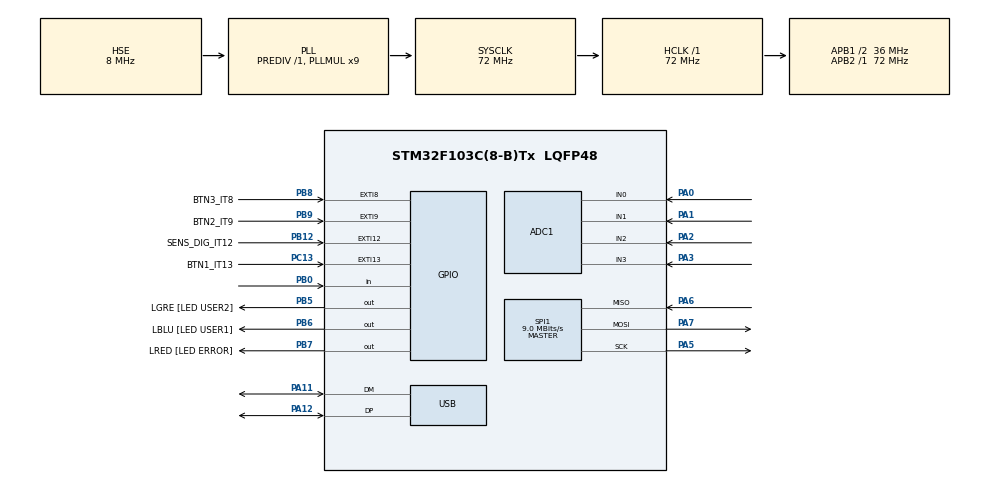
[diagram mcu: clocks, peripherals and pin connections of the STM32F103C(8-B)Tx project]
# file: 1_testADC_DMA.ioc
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ADC1.Channel-1\#ChannelRegularConversion=ADC_CHANNEL_0
ADC1.Channel-2\#ChannelRegularConversion=ADC_CHANNEL_1
ADC1.Channel-3\#ChannelRegularConversion=ADC_CHANNEL_2
ADC1.Channel-4\#ChannelRegularConversion=ADC_CHANNEL_3
ADC1.ContinuousConvMode=DISABLE
ADC1.ExternalTrigConv=ADC_EXTERNALTRIGCONV_T3_TRGO
ADC1.NbrOfConversion=4
ADC1.NbrOfConversionFlag=1
ADC1.Rank-1\#ChannelRegularConversion=1
ADC1.Rank-2\#ChannelRegularConversion=2
ADC1.Rank-3\#ChannelRegularConversion=3
ADC1.Rank-4\#ChannelRegularConversion=4
ADC1.SamplingTime-1\#ChannelRegularConversion=ADC_SAMPLETIME_1CYCLE_5
ADC1.SamplingTime-2\#ChannelRegularConversion=ADC_SAMPLETIME_1CYCLE_5
ADC1.SamplingTime-3\#ChannelRegularConversion=ADC_SAMPLETIME_1CYCLE_5
ADC1.SamplingTime-4\#ChannelRegularConversion=ADC_SAMPLETIME_1CYCLE_5
ADC1.master=1
Dma.ADC1.0.Direction=DMA_PERIPH_TO_MEMORY
Dma.ADC1.0.Instance=DMA1_Channel1
Dma.ADC1.0.MemDataAlignment=DMA_MDATAALIGN_HALFWORD
Dma.ADC1.0.MemInc=DMA_MINC_ENABLE
Dma.ADC1.0.Mode=DMA_CIRCULAR
Dma.ADC1.0.PeriphDataAlignment=DMA_PDATAALIGN_HALFWORD
Dma.ADC1.0.PeriphInc=DMA_PINC_DISABLE
Dma.ADC1.0.Priority=DMA_PRIORITY_LOW
Dma.Request0=ADC1
Mcu.Family=STM32F1
Mcu.Name=STM32F103C(8-B)Tx
Mcu.Package=LQFP48
NVIC.ADC1_2_IRQn=true\:0\:0\:false\:false\:true\:true\:true\:true
NVIC.DMA1_Channel1_IRQn=true\:0\:0\:false\:false\:true\:false\:true\:true
NVIC.PriorityGroup=NVIC_PRIORITYGROUP_4
NVIC.TIM2_IRQn=true\:0\:0\:false\:false\:true\:true\:true\:true
NVIC.TIM3_IRQn=true\:0\:0\:false\:false\:true\:true\:true\:true
NVIC.USB_LP_CAN1_RX0_IRQn=true\:0\:0\:false\:false\:true\:false\:true\:true
PA0-WKUP.Signal=ADCx_IN0
PA1.Signal=ADCx_IN1
PA11.Mode=Device
PA11.Signal=USB_DM
PA12.Mode=Device
PA12.Signal=USB_DP
PA13.Mode=Serial_Wire
PA13.Signal=SYS_JTMS-SWDIO
PA14.Mode=Serial_Wire
PA14.Signal=SYS_JTCK-SWCLK
PA2.Signal=ADCx_IN2
PA3.Signal=ADCx_IN3
PA5.Mode=Full_Duplex_Master
PA5.Signal=SPI1_SCK
PA6.Mode=Full_Duplex_Master
PA6.Signal=SPI1_MISO
PA7.Mode=Full_Duplex_Master
PA7.Signal=SPI1_MOSI
PB0.Signal=GPIO_Input
PB12.GPIO_Label=SENS_DIG_IT12
PB12.Signal=GPXTI12
PB5.GPIO_Label=LGRE [LED USER2]
PB5.GPIO_PuPd=GPIO_PULLUP
PB5.Signal=GPIO_Output
PB6.GPIO_Label=LBLU [LED USER1]
PB6.GPIO_PuPd=GPIO_PULLUP
PB6.Signal=GPIO_Output
PB7.GPIO_Label=LRED [LED ERROR]
PB7.GPIO_PuPd=GPIO_PULLUP
PB7.Signal=GPIO_Output
PB8.GPIO_Label=BTN3_IT8
PB8.GPIO_ModeDefaultEXTI=GPIO_MODE_IT_FALLING
PB8.GPIO_PuPd=GPIO_NOPULL
PB8.Signal=GPXTI8
PB9.GPIO_Label=BTN2_IT9
PB9.GPIO_ModeDefaultEXTI=GPIO_MODE_IT_FALLING
PB9.GPIO_PuPd=GPIO_NOPULL
PB9.Signal=GPXTI9
PC13-TAMPER-RTC.GPIO_Label=BTN1_IT13
PC13-TAMPER-RTC.GPIO_ModeDefaultEXTI=GPIO_MODE_IT_FALLING
PC13-TAMPER-RTC.Signal=GPXTI13
PC14-OSC32_IN.Mode=LSE-External-Clock-Source
PC14-OSC32_IN.Signal=RCC_OSC32_IN
PC15-OSC32_OUT.Mode=LSE-External-Clock-Source
PC15-OSC32_OUT.Signal=RCC_OSC32_OUT
PD0-OSC_IN.Mode=HSE-External-Oscillator
PD0-OSC_IN.Signal=RCC_OSC_IN
PD1-OSC_OUT.Mode=HSE-External-Oscillator
PD1-OSC_OUT.Signal=RCC_OSC_OUT
ProjectManager.HeapSize=0x200
ProjectManager.StackSize=0x400
ProjectManager.TargetToolchain=STM32CubeIDE
RCC.ADCPresc=RCC_ADCPCLK2_DIV6
RCC.AHBFreq_Value=72000000
RCC.APB1CLKDivider=RCC_HCLK_DIV2
RCC.APB1Freq_Value=36000000
RCC.APB1TimFreq_Value=72000000
RCC.APB2Freq_Value=72000000
RCC.APB2TimFreq_Value=72000000
RCC.HCLKFreq_Value=72000000
RCC.PLLMUL=RCC_PLL_MUL9
RCC.PLLSourceVirtual=RCC_PLLSOURCE_HSE
RCC.SYSCLKFreq_VALUE=72000000
RCC.SYSCLKSource=RCC_SYSCLKSOURCE_PLLCLK
RCC.USBFreq_Value=48000000
RCC.USBPrescaler=RCC_USBCLKSOURCE_PLL_DIV1_5
SH.ADCx_IN0.0=ADC1_IN0,IN0
SH.ADCx_IN1.0=ADC1_IN1,IN1
SH.ADCx_IN2.0=ADC1_IN2,IN2
SH.ADCx_IN3.0=ADC1_IN3,IN3
SPI1.BaudRatePrescaler=SPI_BAUDRATEPRESCALER_8
SPI1.CalculateBaudRate=9.0 MBits/s
SPI1.Direction=SPI_DIRECTION_2LINES
SPI1.Mode=SPI_MODE_MASTER
SPI1.VirtualType=VM_MASTER
TIM2.Period=100-1
TIM2.Prescaler=72-1
TIM3.Channel-PWM\ Generation1\ No\ Output=TIM_CHANNEL_1
TIM3.Period=100-1
TIM3.Prescaler=72-1
TIM3.TIM_MasterOutputTrigger=TIM_TRGO_UPDATE
USB_DEVICE.APP_RX_DATA_SIZE=64
USB_DEVICE.APP_TX_DATA_SIZE=64
USB_DEVICE.CLASS_NAME_FS=CDC
USB_DEVICE.PID_CDC_FS=0xC1B0
USB_DEVICE.PRODUCT_STRING_CDC_FS=STM32 usblib
USB_DEVICE.VirtualMode=Cdc
USB_DEVICE.VirtualModeFS=Cdc_FS
VP_TIM2_VS_ClockSourceINT.Mode=Internal
VP_TIM3_VS_ClockSourceINT.Mode=Internal
VP_TIM3_VS_no_output1.Mode=PWM Generation1 No Output
VP_USB_DEVICE_VS_USB_DEVICE_CDC_FS.Mode=CDC_FS
board=custom

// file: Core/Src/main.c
/* USER CODE BEGIN Header */
/**
  ******************************************************************************
  * @file           : main.c
  * @brief          : Main program body
  ******************************************************************************
  * @attention
  *
  * Copyright (c) 2024 STMicroelectronics.
  * All rights reserved.
  *
  * This software is licensed under terms that can be found in the LICENSE file
  * in the root directory of this software component.
  * If no LICENSE file comes with this software, it is provided AS-IS.
  *
  ******************************************************************************
  */
/* USER CODE END Header */
#include "main.h"
#include "usb_device.h"

/* USER CODE BEGIN Includes */
#include "0_strPrc.h"
#include "stdio.h"
#include "string.h"
#include "usbd_cdc.h"
#include "usbd_cdc_if.h"
/* USER CODE END Includes */

/* USER CODE BEGIN PTD */
extern USBD_HandleTypeDef hUsbDeviceFS;
/* USER CODE END PTD */

/* USER CODE BEGIN PD */
//#define AVG_SLOPE	4.3	// mV per C
//#define V25			1.43	// V

#define MAX_INDEX_BUFFER 	23

#define HAS_DOT 			(1)

#define CODE_HANDLER 		(1)
#define CODE_HANDLER_USB 	(0)

#define CODE_HANDLER_1 		(0)
#define TEST_9_2 			(1)

#define LENGTH 	(7)
/* USER CODE END PD */

ADC_HandleTypeDef hadc1;
DMA_HandleTypeDef hdma_adc1;

SPI_HandleTypeDef hspi1;

TIM_HandleTypeDef htim2;
TIM_HandleTypeDef htim3;

/* USER CODE BEGIN PV */

/*Val ADC*/
uint32_t counter = 0;
uint32_t counter2 = 0;
uint32_t counter_done = 0;
uint32_t counter_erro = 0;

uint16_t nadc[4] = {0};

uint16_t tesst[4] = {4352, 9856, 2356, 8794};

uint8_t flat_ADC = 0;
uint8_t ADC_hand = 1;

struct flag_tmr2_t
{
	uint32_t 	flag_1us;
	uint32_t 	flat_1s;
};

struct flag_tmr2_t flagTmr2 = {0,0};

char strFrNum[LENGTH] = {0};				// xxxx:yyyy:zzzz:dddd\r\n

char str4bADC[4] = {0};
char str2bADC[2] = {0};

uint8_t buffADC_35Hz[2500] = {0};

/*Val UART*/
uint8_t buffer_ADC[MAX_INDEX_BUFFER] = {0};

char* mystrcat( char* dest, char* src );
char* num2str(int i, char b[]);

// Handles the IRQ of ADC1. EOC flag is cleared by reading data register
//static uint32_t temp = 0;
//static uint32_t temp_sensor = 0;
/* USER CODE END PV */

void SystemClock_Config(void);
static void MX_GPIO_Init(void);
static void MX_DMA_Init(void);
static void MX_ADC1_Init(void);
static void MX_TIM3_Init(void);
static void MX_SPI1_Init(void);
static void MX_TIM2_Init(void);

/* USER CODE BEGIN 0 */
void HAL_ADC_ConvCpltCallback(ADC_HandleTypeDef* hadc)
{
#if (CODE_HANDLER_USB)
	memset(strFrNum, '\0', LENGTH);

	strPrc_strcpy_pos(strFrNum, strPrc_conv32B216B(strPrc_num2str(nadc[0], strADC)), 0);
	strPrc_strcpy_pos(strFrNum, strPrc_conv32B216B(strPrc_num2str(nadc[1], strADC)), 2);
	strPrc_strcpy_pos(strFrNum, strPrc_conv32B216B(strPrc_num2str(nadc[2], strADC)), 4);
	strPrc_strcpy_pos(strFrNum, strPrc_conv32B216B(strPrc_num2str(nadc[3], strADC)), 6);

	flat_ADC ++;
#endif
	memset(strFrNum, '\0', LENGTH);

	strPrc_strcpy_pos(strFrNum, nadc[0], 0, str2bADC);
	strPrc_strcpy_pos(strFrNum, nadc[1], 2, str2bADC);
	strPrc_strcpy_pos(strFrNum, nadc[2], 4, str2bADC);
	strPrc_strcpy_pos(strFrNum, nadc[3], 6, str2bADC);

	buffADC_35Hz[index] = ;
}

void HAL_TIM_PeriodElapsedCallback(TIM_HandleTypeDef *htim)	// 100us = 0.1ms
{
	if(htim == &htim2)
	{
		flagTmr2.flat_1s ++;
		flagTmr2.flag_1us ++;
	}
}

/* USER CODE END 0 */

int main(void)
{

  /* MCU Configuration--------------------------------------------------------*/

  /* Reset of all peripherals, Initializes the Flash interface and the Systick. */
  HAL_Init();

  /* Configure the system clock */
  SystemClock_Config();

  /* Initialize all configured peripherals */
  MX_GPIO_Init();
  MX_DMA_Init();
  MX_ADC1_Init();
  MX_TIM3_Init();
  MX_USB_DEVICE_Init();
  MX_SPI1_Init();
  MX_TIM2_Init();
  /* USER CODE BEGIN 2 */
  // Calculator ADC
  HAL_GPIO_WritePin(GPIOB, LRED_Pin | LGRE_Pin | LBLU_Pin, LED_LOW);

  if(HAL_ADCEx_Calibration_Start(&hadc1) != HAL_OK)
	  Error_Handler();
  // start pwm generation
  if(HAL_TIM_PWM_Start(&htim3, TIM_CHANNEL_1) != HAL_OK)
	  Error_Handler();

  if(HAL_TIM_Base_Start_IT(&htim2) != HAL_OK)
	  Error_Handler();

  if(HAL_ADC_Start_DMA(&hadc1, (uint32_t*)nadc, sizeof(nadc) / sizeof(uint16_t)) != HAL_OK)
	  Error_Handler();

	 while(HAL_GPIO_ReadPin(BTN3_IT8_GPIO_Port, BTN3_IT8_Pin) == GPIO_PIN_SET){}
  /* USER CODE END 2 */

  /* Infinite loop */
  /* USER CODE BEGIN WHILE */
  while (1)
  {
#if (CODE_HANDLER)
//	if(flagTmr2.flat_1s >= 10000) // 1s
//	{
//		while(HAL_GPIO_ReadPin(BTN3_IT8_GPIO_Port, BTN3_IT8_Pin) == GPIO_PIN_SET){}
//
//		flagTmr2.flat_1s = 0;
//
//		counter_done = 0;
//		counter = 0;
//	}

	/*
	 * 1 Tick = 100us
	 * 1000 : 100ms
	 * 100  : 10ms
	 * 1-   : 1ms
	 *
	 * 28ms : 35HZ :
	 * */
	if(flagTmr2.flag_1us >= 280)
	{
		flagTmr2.flag_1us = 0;
#endif

#if (CODE_HANDLER_USB)

//		if(((USBD_CDC_HandleTypeDef *)hUsbDeviceFS.pClassData) -> TxState == 0)	// Khi máy chủ nhận thành công
//		{
//			counter2++;

			if(CDC_Transmit_FS((uint8_t*)strFrNum, LENGTH) == USBD_OK)
			{
				flat_ADC = 0;
				counter_done++;
				HAL_GPIO_TogglePin(LGRE_GPIO_Port, LGRE_Pin);
			}
//		}
//		else
//		{
//			counter_erro++;
//		}

		// while(((USBD_CDC_HandleTypeDef *)hUsbDeviceFS.pClassData) -> TxState != 0) {}

		counter ++;

#endif

//		strPrc_strcpy_pos(strFrNum, strPrc_conv32B216B(strPrc_num2str(tesst[0], str4bADC) , str2bADC), 0);
//		strPrc_strcpy_pos(strFrNum, strPrc_conv32B216B(strPrc_num2str(tesst[1], str4bADC) , str2bADC), 2);
//		strPrc_strcpy_pos(strFrNum, strPrc_conv32B216B(strPrc_num2str(tesst[2], str4bADC) , str2bADC), 4);
//		strPrc_strcpy_pos(strFrNum, strPrc_conv32B216B(strPrc_num2str(tesst[3], str4bADC) , str2bADC), 6);

		memset(strFrNum, '\0', LENGTH);

		strPrc_strcpy_pos(strFrNum, nadc[0], 0, str2bADC);
		strPrc_strcpy_pos(strFrNum, nadc[1], 2, str2bADC);
		strPrc_strcpy_pos(strFrNum, nadc[2], 4, str2bADC);
		strPrc_strcpy_pos(strFrNum, nadc[3], 6, str2bADC);

		HAL_GPIO_TogglePin(LRED_GPIO_Port, LRED_Pin);

		if(CDC_Transmit_FS((uint8_t*)strFrNum, LENGTH) == USBD_OK)
		{
			flat_ADC = 0;
			counter_done++;
			HAL_GPIO_TogglePin(LGRE_GPIO_Port, LGRE_Pin);
		}

#if (CODE_HANDLER)
	}
#endif

//	HAL_Delay(1000);
    /* USER CODE END WHILE */

  }
}

void SystemClock_Config(void)
{
  RCC_OscInitTypeDef RCC_OscInitStruct = {0};
  RCC_ClkInitTypeDef RCC_ClkInitStruct = {0};
  RCC_PeriphCLKInitTypeDef PeriphClkInit = {0};

  /** Initializes the RCC Oscillators according to the specified parameters
  * in the RCC_OscInitTypeDef structure.
  */
  RCC_OscInitStruct.OscillatorType = RCC_OSCILLATORTYPE_HSE;
  RCC_OscInitStruct.HSEState = RCC_HSE_ON;
  RCC_OscInitStruct.HSEPredivValue = RCC_HSE_PREDIV_DIV1;
  RCC_OscInitStruct.HSIState = RCC_HSI_ON;
  RCC_OscInitStruct.PLL.PLLState = RCC_PLL_ON;
  RCC_OscInitStruct.PLL.PLLSource = RCC_PLLSOURCE_HSE;
  RCC_OscInitStruct.PLL.PLLMUL = RCC_PLL_MUL9;
  if (HAL_RCC_OscConfig(&RCC_OscInitStruct) != HAL_OK)
  {
    Error_Handler();
  }

  /** Initializes the CPU, AHB and APB buses clocks
  */
  RCC_ClkInitStruct.ClockType = RCC_CLOCKTYPE_HCLK|RCC_CLOCKTYPE_SYSCLK
                              |RCC_CLOCKTYPE_PCLK1|RCC_CLOCKTYPE_PCLK2;
  RCC_ClkInitStruct.SYSCLKSource = RCC_SYSCLKSOURCE_PLLCLK;
  RCC_ClkInitStruct.AHBCLKDivider = RCC_SYSCLK_DIV1;
  RCC_ClkInitStruct.APB1CLKDivider = RCC_HCLK_DIV2;
  RCC_ClkInitStruct.APB2CLKDivider = RCC_HCLK_DIV1;

  if (HAL_RCC_ClockConfig(&RCC_ClkInitStruct, FLASH_LATENCY_2) != HAL_OK)
  {
    Error_Handler();
  }
  PeriphClkInit.PeriphClockSelection = RCC_PERIPHCLK_ADC|RCC_PERIPHCLK_USB;
  PeriphClkInit.AdcClockSelection = RCC_ADCPCLK2_DIV6;
  PeriphClkInit.UsbClockSelection = RCC_USBCLKSOURCE_PLL_DIV1_5;
  if (HAL_RCCEx_PeriphCLKConfig(&PeriphClkInit) != HAL_OK)
  {
    Error_Handler();
  }
}

static void MX_ADC1_Init(void)
{

  ADC_ChannelConfTypeDef sConfig = {0};

  /** Common config
  */
  hadc1.Instance = ADC1;
  hadc1.Init.ScanConvMode = ADC_SCAN_ENABLE;
  hadc1.Init.ContinuousConvMode = DISABLE;
  hadc1.Init.DiscontinuousConvMode = DISABLE;
  hadc1.Init.ExternalTrigConv = ADC_EXTERNALTRIGCONV_T3_TRGO;
  hadc1.Init.DataAlign = ADC_DATAALIGN_RIGHT;
  hadc1.Init.NbrOfConversion = 4;
  if (HAL_ADC_Init(&hadc1) != HAL_OK)
  {
    Error_Handler();
  }

  /** Configure Regular Channel
  */
  sConfig.Channel = ADC_CHANNEL_0;
  sConfig.Rank = ADC_REGULAR_RANK_1;
  sConfig.SamplingTime = ADC_SAMPLETIME_1CYCLE_5;
  if (HAL_ADC_ConfigChannel(&hadc1, &sConfig) != HAL_OK)
  {
    Error_Handler();
  }

  /** Configure Regular Channel
  */
  sConfig.Channel = ADC_CHANNEL_1;
  sConfig.Rank = ADC_REGULAR_RANK_2;
  if (HAL_ADC_ConfigChannel(&hadc1, &sConfig) != HAL_OK)
  {
    Error_Handler();
  }

  /** Configure Regular Channel
  */
  sConfig.Channel = ADC_CHANNEL_2;
  sConfig.Rank = ADC_REGULAR_RANK_3;
  if (HAL_ADC_ConfigChannel(&hadc1, &sConfig) != HAL_OK)
  {
    Error_Handler();
  }

  /** Configure Regular Channel
  */
  sConfig.Channel = ADC_CHANNEL_3;
  sConfig.Rank = ADC_REGULAR_RANK_4;
  if (HAL_ADC_ConfigChannel(&hadc1, &sConfig) != HAL_OK)
  {
    Error_Handler();
  }

}

static void MX_SPI1_Init(void)
{

  /* SPI1 parameter configuration*/
  hspi1.Instance = SPI1;
  hspi1.Init.Mode = SPI_MODE_MASTER;
  hspi1.Init.Direction = SPI_DIRECTION_2LINES;
  hspi1.Init.DataSize = SPI_DATASIZE_8BIT;
  hspi1.Init.CLKPolarity = SPI_POLARITY_LOW;
  hspi1.Init.CLKPhase = SPI_PHASE_1EDGE;
  hspi1.Init.NSS = SPI_NSS_SOFT;
  hspi1.Init.BaudRatePrescaler = SPI_BAUDRATEPRESCALER_8;
  hspi1.Init.FirstBit = SPI_FIRSTBIT_MSB;
  hspi1.Init.TIMode = SPI_TIMODE_DISABLE;
  hspi1.Init.CRCCalculation = SPI_CRCCALCULATION_DISABLE;
  hspi1.Init.CRCPolynomial = 10;
  if (HAL_SPI_Init(&hspi1) != HAL_OK)
  {
    Error_Handler();
  }

}

static void MX_TIM2_Init(void)
{

  TIM_ClockConfigTypeDef sClockSourceConfig = {0};
  TIM_MasterConfigTypeDef sMasterConfig = {0};

  htim2.Instance = TIM2;
  htim2.Init.Prescaler = 72-1;
  htim2.Init.CounterMode = TIM_COUNTERMODE_UP;
  htim2.Init.Period = 100-1;
  htim2.Init.ClockDivision = TIM_CLOCKDIVISION_DIV1;
  htim2.Init.AutoReloadPreload = TIM_AUTORELOAD_PRELOAD_DISABLE;
  if (HAL_TIM_Base_Init(&htim2) != HAL_OK)
  {
    Error_Handler();
  }
  sClockSourceConfig.ClockSource = TIM_CLOCKSOURCE_INTERNAL;
  if (HAL_TIM_ConfigClockSource(&htim2, &sClockSourceConfig) != HAL_OK)
  {
    Error_Handler();
  }
  sMasterConfig.MasterOutputTrigger = TIM_TRGO_RESET;
  sMasterConfig.MasterSlaveMode = TIM_MASTERSLAVEMODE_DISABLE;
  if (HAL_TIMEx_MasterConfigSynchronization(&htim2, &sMasterConfig) != HAL_OK)
  {
    Error_Handler();
  }

}

static void MX_TIM3_Init(void)
{

  TIM_ClockConfigTypeDef sClockSourceConfig = {0};
  TIM_MasterConfigTypeDef sMasterConfig = {0};
  TIM_OC_InitTypeDef sConfigOC = {0};

  htim3.Instance = TIM3;
  htim3.Init.Prescaler = 72-1;
  htim3.Init.CounterMode = TIM_COUNTERMODE_UP;
  htim3.Init.Period = 100-1;
  htim3.Init.ClockDivision = TIM_CLOCKDIVISION_DIV1;
  htim3.Init.AutoReloadPreload = TIM_AUTORELOAD_PRELOAD_DISABLE;
  if (HAL_TIM_Base_Init(&htim3) != HAL_OK)
  {
    Error_Handler();
  }
  sClockSourceConfig.ClockSource = TIM_CLOCKSOURCE_INTERNAL;
  if (HAL_TIM_ConfigClockSource(&htim3, &sClockSourceConfig) != HAL_OK)
  {
    Error_Handler();
  }
  if (HAL_TIM_PWM_Init(&htim3) != HAL_OK)
  {
    Error_Handler();
  }
  sMasterConfig.MasterOutputTrigger = TIM_TRGO_UPDATE;
  sMasterConfig.MasterSlaveMode = TIM_MASTERSLAVEMODE_DISABLE;
  if (HAL_TIMEx_MasterConfigSynchronization(&htim3, &sMasterConfig) != HAL_OK)
  {
    Error_Handler();
  }
  sConfigOC.OCMode = TIM_OCMODE_PWM1;
  sConfigOC.Pulse = 0;
  sConfigOC.OCPolarity = TIM_OCPOLARITY_HIGH;
  sConfigOC.OCFastMode = TIM_OCFAST_DISABLE;
  if (HAL_TIM_PWM_ConfigChannel(&htim3, &sConfigOC, TIM_CHANNEL_1) != HAL_OK)
  {
    Error_Handler();
  }

}

static void MX_DMA_Init(void)
{

  /* DMA controller clock enable */
  __HAL_RCC_DMA1_CLK_ENABLE();

  /* DMA interrupt init */
  /* DMA1_Channel1_IRQn interrupt configuration */
  HAL_NVIC_SetPriority(DMA1_Channel1_IRQn, 0, 0);
  HAL_NVIC_EnableIRQ(DMA1_Channel1_IRQn);

}

static void MX_GPIO_Init(void)
{
  GPIO_InitTypeDef GPIO_InitStruct = {0};

  /* GPIO Ports Clock Enable */
  __HAL_RCC_GPIOC_CLK_ENABLE();
  __HAL_RCC_GPIOD_CLK_ENABLE();
  __HAL_RCC_GPIOA_CLK_ENABLE();
  __HAL_RCC_GPIOB_CLK_ENABLE();

  /*Configure GPIO pin Output Level */
  HAL_GPIO_WritePin(GPIOB, LGRE_Pin|LBLU_Pin|LRED_Pin, GPIO_PIN_RESET);

  /*Configure GPIO pin : BTN1_IT13_Pin */
  GPIO_InitStruct.Pin = BTN1_IT13_Pin;
  GPIO_InitStruct.Mode = GPIO_MODE_IT_FALLING;
  GPIO_InitStruct.Pull = GPIO_NOPULL;
  HAL_GPIO_Init(BTN1_IT13_GPIO_Port, &GPIO_InitStruct);

  /*Configure GPIO pin : PB0 */
  GPIO_InitStruct.Pin = GPIO_PIN_0;
  GPIO_InitStruct.Mode = GPIO_MODE_INPUT;
  GPIO_InitStruct.Pull = GPIO_NOPULL;
  HAL_GPIO_Init(GPIOB, &GPIO_InitStruct);

  /*Configure GPIO pin : SENS_DIG_IT12_Pin */
  GPIO_InitStruct.Pin = SENS_DIG_IT12_Pin;
  GPIO_InitStruct.Mode = GPIO_MODE_IT_RISING;
  GPIO_InitStruct.Pull = GPIO_NOPULL;
  HAL_GPIO_Init(SENS_DIG_IT12_GPIO_Port, &GPIO_InitStruct);

  /*Configure GPIO pins : LGRE_Pin LBLU_Pin LRED_Pin */
  GPIO_InitStruct.Pin = LGRE_Pin|LBLU_Pin|LRED_Pin;
  GPIO_InitStruct.Mode = GPIO_MODE_OUTPUT_PP;
  GPIO_InitStruct.Pull = GPIO_PULLUP;
  GPIO_InitStruct.Speed = GPIO_SPEED_FREQ_LOW;
  HAL_GPIO_Init(GPIOB, &GPIO_InitStruct);

  /*Configure GPIO pins : BTN3_IT8_Pin BTN2_IT9_Pin */
  GPIO_InitStruct.Pin = BTN3_IT8_Pin|BTN2_IT9_Pin;
  GPIO_InitStruct.Mode = GPIO_MODE_IT_FALLING;
  GPIO_InitStruct.Pull = GPIO_NOPULL;
  HAL_GPIO_Init(GPIOB, &GPIO_InitStruct);

}

void Error_Handler(void)
{
  /* USER CODE BEGIN Error_Handler_Debug */
  /* User can add his own implementation to report the HAL error return state */
  __disable_irq();

//  HAL_GPIO_WritePin(L_B_GPIO_Port, L_B_Pin, GPIO_PIN_RESET);

  while (1)
  {
	  HAL_GPIO_WritePin(LRED_GPIO_Port, LRED_Pin, LED_HIG);
  }
  /* USER CODE END Error_Handler_Debug */
}
